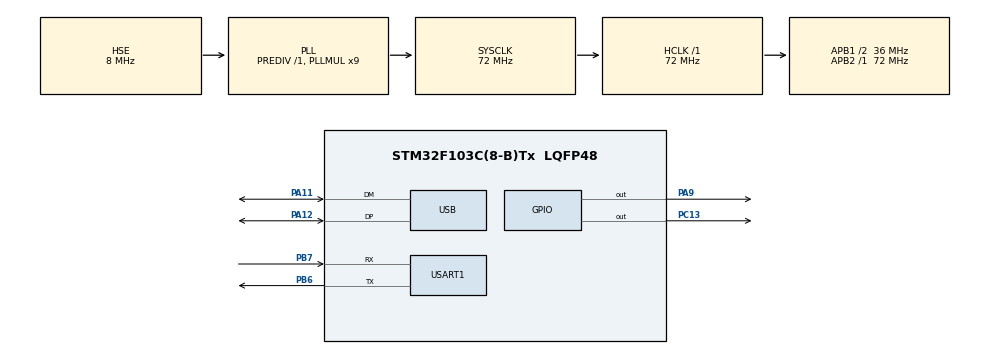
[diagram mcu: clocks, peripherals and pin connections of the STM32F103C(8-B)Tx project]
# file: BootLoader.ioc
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IWDG.Prescaler=IWDG_PRESCALER_64
Mcu.Family=STM32F1
Mcu.Name=STM32F103C(8-B)Tx
Mcu.Package=LQFP48
NVIC.PriorityGroup=NVIC_PRIORITYGROUP_4
NVIC.RTC_IRQn=true\:0\:0\:false\:false\:true\:true\:true
NVIC.USB_LP_CAN1_RX0_IRQn=true\:0\:0\:false\:false\:true\:false\:true
PA11.Mode=Device
PA11.Signal=USB_DM
PA12.Mode=Device
PA12.Signal=USB_DP
PA13.Mode=Serial_Wire
PA13.Signal=SYS_JTMS-SWDIO
PA14.Mode=Serial_Wire
PA14.Signal=SYS_JTCK-SWCLK
PA9.Signal=GPIO_Output
PB6.Mode=Asynchronous
PB6.Signal=USART1_TX
PB7.Mode=Asynchronous
PB7.Signal=USART1_RX
PC13-TAMPER-RTC.Signal=GPIO_Output
PD0-OSC_IN.Mode=HSE-External-Oscillator
PD0-OSC_IN.Signal=RCC_OSC_IN
PD1-OSC_OUT.Mode=HSE-External-Oscillator
PD1-OSC_OUT.Signal=RCC_OSC_OUT
ProjectManager.HeapSize=0x2000
ProjectManager.StackSize=0x4000
ProjectManager.TargetToolchain=MDK-ARM V5.27
RCC.AHBFreq_Value=72000000
RCC.APB1CLKDivider=RCC_HCLK_DIV2
RCC.APB1Freq_Value=36000000
RCC.APB1TimFreq_Value=72000000
RCC.APB2Freq_Value=72000000
RCC.APB2TimFreq_Value=72000000
RCC.HCLKFreq_Value=72000000
RCC.PLLMUL=RCC_PLL_MUL9
RCC.SYSCLKFreq_VALUE=72000000
RCC.SYSCLKSource=RCC_SYSCLKSOURCE_PLLCLK
RCC.USBFreq_Value=48000000
RCC.USBPrescaler=RCC_USBCLKSOURCE_PLL_DIV1_5
RTC.Format=RTC_FORMAT_BIN
USART1.VirtualMode=VM_ASYNC
USB_DEVICE.CLASS_NAME_FS=CUSTOM_HID
USB_DEVICE.CONFIGURATION_STRING_CUSTOMHID_FS=KeyHard Config
USB_DEVICE.INTERFACE_STRING_CUSTOMHID_FS=KeyHard Interface
USB_DEVICE.MANUFACTURER_STRING=HealthCoop
USB_DEVICE.PRODUCT_STRING_CUSTOMHID_FS=KeyHard
USB_DEVICE.USBD_CUSTOMHID_OUTREPORT_BUF_SIZE=64
USB_DEVICE.USBD_CUSTOM_HID_REPORT_DESC_SIZE=64
USB_DEVICE.VID=5566
USB_DEVICE.VirtualMode=CustomHid
USB_DEVICE.VirtualModeFS=Custom_Hid_FS
VP_IWDG_VS_IWDG.Mode=IWDG_Activate
VP_RTC_No_RTC_Output.Mode=RTC_OUT_NO
VP_RTC_VS_RTC_Activate.Mode=RTC_Enabled
VP_USB_DEVICE_VS_USB_DEVICE_CUSTOM_HID_FS.Mode=CUSTOM_HID_FS
board=custom

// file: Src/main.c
/* USER CODE BEGIN Header */
/**
  ******************************************************************************
  * @file           : main.c
  * @brief          : Main program body
  ******************************************************************************
  * @attention
  *
  * <h2><center>&copy; Copyright (c) 2020 STMicroelectronics.
  * All rights reserved.</center></h2>
  *
  * This software component is licensed by ST under Ultimate Liberty license
  * SLA0044, the "License"; You may not use this file except in compliance with
  * the License. You may obtain a copy of the License at:
  *                             www.st.com/SLA0044
  *
  ******************************************************************************
  */
/* USER CODE END Header */

#include "main.h"
#include "usb_device.h"

/* USER CODE BEGIN Includes */
#include "usbd_custom_hid_if.h"
#include "usb_process.h"
#include <stdio.h>
#include <Flash.h>
#include "memory.h"
/* USER CODE END Includes */

/* USER CODE BEGIN PM */
typedef  void (*pFunction)(void);
/* USER CODE END PM */

IWDG_HandleTypeDef hiwdg;

RTC_HandleTypeDef hrtc;

UART_HandleTypeDef huart1;

/* USER CODE BEGIN PV */
static uint8_t usb_RX_buffer[64] __attribute__((aligned(4)));
uint8_t usb_TX_buffer[64];
static int DataReceiveAlready = 0; // neu =1 thi co nghia la du lieu trong usb_RX_buffer san sang
int DataSendAlready = 0; // neu set = 1 thi se tien hanh truyen du lieu di trong usb_TX_buffer
//
extern USBD_HandleTypeDef hUsbDeviceFS;
bool	RequestUpdate = false;
// Bien khai bao de nhay den chuong trinh
pFunction JumpToApplication;
/* USER CODE END PV */

void SystemClock_Config(void);
static void MX_GPIO_Init(void);
static void MX_IWDG_Init(void);
static void MX_RTC_Init(void);
static void MX_USART1_UART_Init(void);
/* USER CODE BEGIN PFP */
uint8_t USBD_CUSTOM_HID_SendReport     (USBD_HandleTypeDef  *pdev, uint8_t *report, uint16_t len);
void USB_RX_Interrupt(void);
void SystickTimerInterrup(void);
void jump_to_app(void);

/* USER CODE END PFP */

int main(void)
{
  /* USER CODE BEGIN 1 */
	uint8_t Password[65];
	int8_t CheckDefault = 0;
	unsigned char hash[SHA256_DIGEST_LENGTH];
	SHA256_CTX sha256;
	uint8_t LockFlashFlag = 0;
  /* USER CODE END 1 */

  /* MCU Configuration--------------------------------------------------------*/

  /* Reset of all peripherals, Initializes the Flash interface and the Systick. */
  HAL_Init();

  /* Configure the system clock */
  SystemClock_Config();

  /* USER CODE BEGIN SysInit */
	uint8_t ByteAppCommand = ReadFlashByte(FLASH_BOOT_COMMAND);
	uint8_t Firmware = ReadFlashByte(FIRMWARE_READY);
	// neu chua khoa read flash thi tien hanh khoa flash
	if(ReadFlashWord(OB_BASE) != 0xFFFFFF00)
	{
		//LockFlash();
		LockFlashFlag = 1;
	}
	//
	if(ByteAppCommand == 100 && Firmware == 'R')
	{
		jump_to_app();
	}
  /* USER CODE END SysInit */

  /* Initialize all configured peripherals */
  MX_GPIO_Init();
  MX_IWDG_Init();
  MX_RTC_Init();
  MX_USB_DEVICE_Init();
	MX_USART1_UART_Init();
  /* USER CODE BEGIN 2 */
	HAL_GPIO_WritePin(GPIOC,GPIO_PIN_13,GPIO_PIN_RESET);
	memset((char*)usb_TX_buffer,0,64);
	printf("Bootloader Start: %d, %c\r\n",ByteAppCommand,Firmware);
	for(int i = 0; i < 64; i++)
	{
		Password[i] = ReadFlashByte(PASSWORD_SAVE + i);
		if(Password[i] == 0 || Password[i] == 255)
		{
			CheckDefault++;
		}
	}
	Password[64] = 0;
#if defined(DEBUG_MODE)
	printf("Pass save: %s\r\n",Password);
#endif

#if defined(DEBUG_MODE)
	printf("CheckDefault: %d\r\n", CheckDefault);
#endif
	// do not check password if password not set
	if(CheckDefault == 64)
	{
		goto PASSWORD_OK;
	}
	else
	{
		printf("Input Password to Download Mode\r\n");
		sprintf((char*)usb_TX_buffer,"PASSWORD_REQUEST\r\n");
		USBD_CUSTOM_HID_SendReport(&hUsbDeviceFS,usb_TX_buffer,64);
	}
	// start check password to download mode
	while(1)
	{
		if(DataReceiveAlready == 1)
		{
			DataReceiveAlready = 0;
			if(PasswordProcess(usb_RX_buffer,Password) == 0)
			{
				goto PASSWORD_OK;
			}
			else
			{
				USBD_CUSTOM_HID_SendReport(&hUsbDeviceFS,usb_TX_buffer,64);
				printf("Wrong Password\r\n");
			}
		}
	}
	PASSWORD_OK:
	memset((char*)usb_TX_buffer,0,64);
	sprintf((char*)usb_TX_buffer,"PASSWORD_OK\r\n");
	USBD_CUSTOM_HID_SendReport(&hUsbDeviceFS,usb_TX_buffer,64);
#if defined(DEBUG_MODE)
	printf("Enter Download Firmware\r\n");
	printf("Option Byte %X\r\n",ReadFlashWord(OB_BASE));
	printf("LockFlashFlag = %d\r\n",LockFlashFlag);
#endif
  /* USER CODE END 2 */

  /* Infinite loop */
  while (1)
  {

    /* USER CODE BEGIN 3 */
		if(DataReceiveAlready == 1)
		{
			DataReceiveAlready = 0;
			if(UsbProcess(usb_RX_buffer) == 2)
			{
				memset((char*)usb_TX_buffer,0,64);
				sprintf((char*)usb_TX_buffer,"WAIT COMMAND DOWNLOAD\r\n");
				USBD_CUSTOM_HID_SendReport(&hUsbDeviceFS,usb_TX_buffer,64);
			}
		}
		if(DataSendAlready != 0)
		{
			if(DataSendAlready == 2)
			{
				memset((char*)usb_TX_buffer,0,64);
				sprintf((char*)usb_TX_buffer,"FLASH_OK\r\n");
			}
			if(DataSendAlready == 1)
			{
				memset((char*)usb_TX_buffer,0,64);
				sprintf((char*)usb_TX_buffer,"SUCCESS\r\n");
			}
			USBD_CUSTOM_HID_SendReport(&hUsbDeviceFS,usb_TX_buffer,64);
			DataSendAlready = 0;
		}
  }
  /* USER CODE END 3 */
}

void SystemClock_Config(void)
{
  RCC_OscInitTypeDef RCC_OscInitStruct = {0};
  RCC_ClkInitTypeDef RCC_ClkInitStruct = {0};
  RCC_PeriphCLKInitTypeDef PeriphClkInit = {0};

  /** Initializes the CPU, AHB and APB busses clocks
  */
  RCC_OscInitStruct.OscillatorType = RCC_OSCILLATORTYPE_LSI|RCC_OSCILLATORTYPE_HSE;
  RCC_OscInitStruct.HSEState = RCC_HSE_ON;
  RCC_OscInitStruct.HSEPredivValue = RCC_HSE_PREDIV_DIV1;
  RCC_OscInitStruct.HSIState = RCC_HSI_ON;
  RCC_OscInitStruct.LSIState = RCC_LSI_ON;
  RCC_OscInitStruct.PLL.PLLState = RCC_PLL_ON;
  RCC_OscInitStruct.PLL.PLLSource = RCC_PLLSOURCE_HSE;
  RCC_OscInitStruct.PLL.PLLMUL = RCC_PLL_MUL9;
  if (HAL_RCC_OscConfig(&RCC_OscInitStruct) != HAL_OK)
  {
    Error_Handler();
  }
  /** Initializes the CPU, AHB and APB busses clocks
  */
  RCC_ClkInitStruct.ClockType = RCC_CLOCKTYPE_HCLK|RCC_CLOCKTYPE_SYSCLK
                              |RCC_CLOCKTYPE_PCLK1|RCC_CLOCKTYPE_PCLK2;
  RCC_ClkInitStruct.SYSCLKSource = RCC_SYSCLKSOURCE_PLLCLK;
  RCC_ClkInitStruct.AHBCLKDivider = RCC_SYSCLK_DIV1;
  RCC_ClkInitStruct.APB1CLKDivider = RCC_HCLK_DIV2;
  RCC_ClkInitStruct.APB2CLKDivider = RCC_HCLK_DIV1;

  if (HAL_RCC_ClockConfig(&RCC_ClkInitStruct, FLASH_LATENCY_2) != HAL_OK)
  {
    Error_Handler();
  }
  PeriphClkInit.PeriphClockSelection = RCC_PERIPHCLK_RTC|RCC_PERIPHCLK_USB;
  PeriphClkInit.RTCClockSelection = RCC_RTCCLKSOURCE_LSI;
  PeriphClkInit.UsbClockSelection = RCC_USBCLKSOURCE_PLL_DIV1_5;
  if (HAL_RCCEx_PeriphCLKConfig(&PeriphClkInit) != HAL_OK)
  {
    Error_Handler();
  }
}

static void MX_IWDG_Init(void)
{

  hiwdg.Instance = IWDG;
  hiwdg.Init.Prescaler = IWDG_PRESCALER_64;
  hiwdg.Init.Reload = 4095;
  if (HAL_IWDG_Init(&hiwdg) != HAL_OK)
  {
    Error_Handler();
  }

}

static void MX_RTC_Init(void)
{

  /** Initialize RTC Only
  */
  hrtc.Instance = RTC;
  hrtc.Init.AsynchPrediv = RTC_AUTO_1_SECOND;
  hrtc.Init.OutPut = RTC_OUTPUTSOURCE_NONE;//RTC_OUTPUTSOURCE_ALARM;
  if (HAL_RTC_Init(&hrtc) != HAL_OK)
  {
    Error_Handler();
  }

}

static void MX_USART1_UART_Init(void)
{

  huart1.Instance = USART1;
  huart1.Init.BaudRate = 115200;
  huart1.Init.WordLength = UART_WORDLENGTH_8B;
  huart1.Init.StopBits = UART_STOPBITS_1;
  huart1.Init.Parity = UART_PARITY_NONE;
  huart1.Init.Mode = UART_MODE_TX_RX;
  huart1.Init.HwFlowCtl = UART_HWCONTROL_NONE;
  huart1.Init.OverSampling = UART_OVERSAMPLING_16;
  if (HAL_UART_Init(&huart1) != HAL_OK)
  {
    Error_Handler();
  }

}

static void MX_GPIO_Init(void)
{
  GPIO_InitTypeDef GPIO_InitStruct = {0};

  /* GPIO Ports Clock Enable */
  __HAL_RCC_GPIOC_CLK_ENABLE();
  __HAL_RCC_GPIOD_CLK_ENABLE();
  __HAL_RCC_GPIOA_CLK_ENABLE();
  __HAL_RCC_GPIOB_CLK_ENABLE();

  /*Configure GPIO pin Output Level */
  HAL_GPIO_WritePin(GPIOC, GPIO_PIN_13, GPIO_PIN_SET);

  /*Configure GPIO pin Output Level */
  HAL_GPIO_WritePin(GPIOA, GPIO_PIN_9, GPIO_PIN_RESET);

  /*Configure GPIO pin : PC13 */
  GPIO_InitStruct.Pin = GPIO_PIN_13;
  GPIO_InitStruct.Mode = GPIO_MODE_OUTPUT_PP;
  GPIO_InitStruct.Pull = GPIO_NOPULL;
  GPIO_InitStruct.Speed = GPIO_SPEED_FREQ_LOW;
  HAL_GPIO_Init(GPIOC, &GPIO_InitStruct);

  /*Configure GPIO pin : PA9 */
  GPIO_InitStruct.Pin = GPIO_PIN_9;
  GPIO_InitStruct.Mode = GPIO_MODE_OUTPUT_PP;
  GPIO_InitStruct.Pull = GPIO_NOPULL;
  GPIO_InitStruct.Speed = GPIO_SPEED_FREQ_LOW;
  HAL_GPIO_Init(GPIOA, &GPIO_InitStruct);

}

/* USER CODE BEGIN 4 */
int fputc( int ch, FILE *f )
{
	HAL_UART_Transmit(&huart1,(uint8_t *)&ch,1,300);
  return ch;
}
//
void USB_RX_Interrupt(void)
{
	int NumberByteReceive = 0;
	int iRun = 0;
	USBD_CUSTOM_HID_HandleTypeDef *myusb=(USBD_CUSTOM_HID_HandleTypeDef *)hUsbDeviceFS.pClassData;

	//Clear arr
	for(iRun=0;iRun<64;iRun++)
	{
		usb_RX_buffer[iRun]=0;
	}
	//myusb->Report_buf[0]= numbers of byte data
	//for(i=0;i<myusb->Report_buf[0];i++)
	NumberByteReceive = myusb->Report_buf[0];
	if(NumberByteReceive > 64)
	{
		NumberByteReceive = 64;
	}
	//
	if(NumberByteReceive > 0)
	{
		for(iRun=0;iRun<64;iRun++)
		{
			usb_RX_buffer[iRun]=myusb->Report_buf[iRun+1];
		}
		DataReceiveAlready = 1;
	}
}
// Ngat timer systick
int clearWatchDogTime = 0;
void SystickTimerInterrup(void)
{
	clearWatchDogTime++;
	if(clearWatchDogTime > 1000)
	{
		clearWatchDogTime = 0;
		HAL_IWDG_Refresh(&hiwdg);
		HAL_GPIO_TogglePin(GPIOA,GPIO_PIN_9);
	}
}
//
void jump_to_app(void)
{
	/* If Program has been written */
	//if (((*(__IO uint32_t*)ApplicationAddress) & 0x2FFE0000 ) == 0x20000000)
	{
		// Disable all interrupts
		NVIC->ICER[0] = 0xFFFFFFFF;
		NVIC->ICER[1] = 0xFFFFFFFF;
		NVIC->ICER[2] = 0xFFFFFFFF;
		//
		// Clear pendings
		NVIC->ICPR[0] = 0xFFFFFFFF;
		NVIC->ICPR[1] = 0xFFFFFFFF;
		NVIC->ICPR[2] = 0xFFFFFFFF;
		//
//		__HAL_RCC_GPIOC_CLK_DISABLE();
//		__HAL_RCC_GPIOD_CLK_DISABLE();
//		__HAL_RCC_GPIOA_CLK_DISABLE();
//		__HAL_RCC_GPIOB_CLK_DISABLE();
//		HAL_GPIO_DeInit(GPIOC,GPIO_PIN_13);
//		HAL_GPIO_DeInit(GPIOA,GPIO_PIN_9);
//		//
//		HAL_RTC_DeInit(&hrtc);
//		HAL_UART_DeInit(&huart1);
//		MX_USB_DEVICE_DeInit();
		//
		/* Disable Systick interrupt */
		SysTick->CTRL = 0;
		/* Initialize user application's Stack Pointer & Jump to user application */
		JumpToApplication = (pFunction) (*(__IO uint32_t*) (FLASH_APP_START + 4));
		__set_MSP(*(__IO uint32_t*) FLASH_APP_START);
		JumpToApplication();
	}
}
//
/* USER CODE END 4 */

void Error_Handler(void)
{
}

/************************ (C) COPYRIGHT STMicroelectronics *****END OF FILE****/
